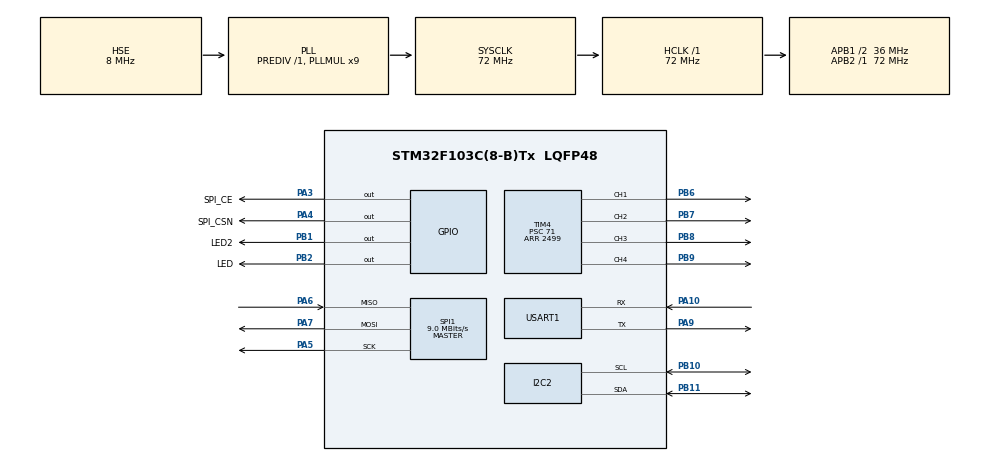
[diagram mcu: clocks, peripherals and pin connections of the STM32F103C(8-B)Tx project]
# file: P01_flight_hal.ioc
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FREERTOS.Tasks01=myTask,40,256,StartTask,Default,NULL,Dynamic,NULL,NULL;myTask02,24,128,StartTask02,Default,NULL,Dynamic,NULL,NULL;myTask03,8,128,StartTask03,Default,NULL,Dynamic,NULL,NULL
I2C2.I2C_Mode=I2C_Fast
Mcu.Family=STM32F1
Mcu.Name=STM32F103C(8-B)Tx
Mcu.Package=LQFP48
NVIC.PriorityGroup=NVIC_PRIORITYGROUP_4
NVIC.TIM2_IRQn=true\:15\:0\:false\:false\:true\:false\:false\:true\:true
NVIC.TimeBase=TIM2_IRQn
NVIC.TimeBaseIP=TIM2
PA10.Mode=Asynchronous
PA10.Signal=USART1_RX
PA13.Mode=Serial_Wire
PA13.Signal=SYS_JTMS-SWDIO
PA14.Mode=Serial_Wire
PA14.Signal=SYS_JTCK-SWCLK
PA3.GPIO_Label=SPI_CE
PA3.PinState=GPIO_PIN_RESET
PA3.Signal=GPIO_Output
PA4.GPIO_Label=SPI_CSN
PA4.PinState=GPIO_PIN_SET
PA4.Signal=GPIO_Output
PA5.Mode=Full_Duplex_Master
PA5.Signal=SPI1_SCK
PA6.Mode=Full_Duplex_Master
PA6.Signal=SPI1_MISO
PA7.Mode=Full_Duplex_Master
PA7.Signal=SPI1_MOSI
PA9.Mode=Asynchronous
PA9.Signal=USART1_TX
PB1.GPIO_Label=LED2
PB1.Signal=GPIO_Output
PB10.Mode=I2C
PB10.Signal=I2C2_SCL
PB11.Mode=I2C
PB11.Signal=I2C2_SDA
PB2.GPIO_Label=LED
PB2.GPIO_PuPd=GPIO_NOPULL
PB2.Signal=GPIO_Output
PB6.Signal=S_TIM4_CH1
PB7.Signal=S_TIM4_CH2
PB8.Signal=S_TIM4_CH3
PB9.Signal=S_TIM4_CH4
PC14-OSC32_IN.Mode=LSE-External-Oscillator
PC14-OSC32_IN.Signal=RCC_OSC32_IN
PC15-OSC32_OUT.Mode=LSE-External-Oscillator
PC15-OSC32_OUT.Signal=RCC_OSC32_OUT
PD0-OSC_IN.Mode=HSE-External-Oscillator
PD0-OSC_IN.Signal=RCC_OSC_IN
PD1-OSC_OUT.Mode=HSE-External-Oscillator
PD1-OSC_OUT.Signal=RCC_OSC_OUT
ProjectManager.HeapSize=0x200
ProjectManager.StackSize=0x400
ProjectManager.TargetToolchain=CMake
RCC.AHBFreq_Value=72000000
RCC.APB1CLKDivider=RCC_HCLK_DIV2
RCC.APB1Freq_Value=36000000
RCC.APB1TimFreq_Value=72000000
RCC.APB2Freq_Value=72000000
RCC.APB2TimFreq_Value=72000000
RCC.HCLKFreq_Value=72000000
RCC.PLLMUL=RCC_PLL_MUL9
RCC.PLLSourceVirtual=RCC_PLLSOURCE_HSE
RCC.SYSCLKFreq_VALUE=72000000
RCC.SYSCLKSource=RCC_SYSCLKSOURCE_PLLCLK
RCC.USBFreq_Value=72000000
SH.S_TIM4_CH1.0=TIM4_CH1,PWM Generation1 CH1
SH.S_TIM4_CH2.0=TIM4_CH2,PWM Generation2 CH2
SH.S_TIM4_CH3.0=TIM4_CH3,PWM Generation3 CH3
SH.S_TIM4_CH4.0=TIM4_CH4,PWM Generation4 CH4
SPI1.BaudRatePrescaler=SPI_BAUDRATEPRESCALER_8
SPI1.CalculateBaudRate=9.0 MBits/s
SPI1.Direction=SPI_DIRECTION_2LINES
SPI1.Mode=SPI_MODE_MASTER
SPI1.VirtualType=VM_MASTER
TIM4.Channel-PWM\ Generation1\ CH1=TIM_CHANNEL_1
TIM4.Channel-PWM\ Generation2\ CH2=TIM_CHANNEL_2
TIM4.Channel-PWM\ Generation3\ CH3=TIM_CHANNEL_3
TIM4.Channel-PWM\ Generation4\ CH4=TIM_CHANNEL_4
TIM4.Period=2499
TIM4.Prescaler=71
TIM4.Pulse-PWM\ Generation1\ CH1=1100
TIM4.Pulse-PWM\ Generation2\ CH2=1100
TIM4.Pulse-PWM\ Generation3\ CH3=1100
TIM4.Pulse-PWM\ Generation4\ CH4=1100
USART1.VirtualMode=VM_ASYNC
VP_FREERTOS_VS_CMSIS_V2.Mode=CMSIS_V2
VP_SYS_VS_tim2.Mode=TIM2
VP_TIM4_VS_ClockSourceINT.Mode=Internal
board=custom

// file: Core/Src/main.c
/* USER CODE BEGIN Header */
/**
  ******************************************************************************
  * @file           : main.c
  * @brief          : Main program body
  ******************************************************************************
  * @attention
  *
  * Copyright (c) 2026 STMicroelectronics.
  * All rights reserved.
  *
  * This software is licensed under terms that can be found in the LICENSE file
  * in the root directory of this software component.
  * If no LICENSE file comes with this software, it is provided AS-IS.
  *
  ******************************************************************************
  */
/* USER CODE END Header */
#include "main.h"
#include "cmsis_os.h"
#include "i2c.h"
#include "spi.h"
#include "tim.h"
#include "usart.h"
#include "gpio.h"

/* USER CODE BEGIN Includes */
#include "com_debug.h"
#include "nRF24L01P.h"
/* USER CODE END Includes */

void SystemClock_Config(void);
void MX_FREERTOS_Init(void);

int main(void)
{

  /* MCU Configuration--------------------------------------------------------*/

  /* Reset of all peripherals, Initializes the Flash interface and the Systick. */
  HAL_Init();

  /* Configure the system clock */
  SystemClock_Config();

  /* Initialize all configured peripherals */
  MX_GPIO_Init();
  MX_SPI1_Init();
  MX_USART1_UART_Init();
  MX_TIM4_Init();
  MX_I2C2_Init();
  /* USER CODE BEGIN 2 */

  //使用C語言標準的日誌輸出函數printf()
  //debug_printf("Hello World!\r\n");

  /* USER CODE END 2 */

  /* Init scheduler */
  osKernelInitialize();  /* Call init function for freertos objects (in cmsis_os2.c) */
  MX_FREERTOS_Init();

  /* Start scheduler */
  osKernelStart();

  /* We should never get here as control is now taken by the scheduler */

  /* Infinite loop */
  while (1)
  {

  }
}

void SystemClock_Config(void)
{
  RCC_OscInitTypeDef RCC_OscInitStruct = {0};
  RCC_ClkInitTypeDef RCC_ClkInitStruct = {0};

  /** Initializes the RCC Oscillators according to the specified parameters
  * in the RCC_OscInitTypeDef structure.
  */
  RCC_OscInitStruct.OscillatorType = RCC_OSCILLATORTYPE_HSE;
  RCC_OscInitStruct.HSEState = RCC_HSE_ON;
  RCC_OscInitStruct.HSEPredivValue = RCC_HSE_PREDIV_DIV1;
  RCC_OscInitStruct.HSIState = RCC_HSI_ON;
  RCC_OscInitStruct.PLL.PLLState = RCC_PLL_ON;
  RCC_OscInitStruct.PLL.PLLSource = RCC_PLLSOURCE_HSE;
  RCC_OscInitStruct.PLL.PLLMUL = RCC_PLL_MUL9;
  if (HAL_RCC_OscConfig(&RCC_OscInitStruct) != HAL_OK)
  {
    Error_Handler();
  }

  /** Initializes the CPU, AHB and APB buses clocks
  */
  RCC_ClkInitStruct.ClockType = RCC_CLOCKTYPE_HCLK|RCC_CLOCKTYPE_SYSCLK
                              |RCC_CLOCKTYPE_PCLK1|RCC_CLOCKTYPE_PCLK2;
  RCC_ClkInitStruct.SYSCLKSource = RCC_SYSCLKSOURCE_PLLCLK;
  RCC_ClkInitStruct.AHBCLKDivider = RCC_SYSCLK_DIV1;
  RCC_ClkInitStruct.APB1CLKDivider = RCC_HCLK_DIV2;
  RCC_ClkInitStruct.APB2CLKDivider = RCC_HCLK_DIV1;

  if (HAL_RCC_ClockConfig(&RCC_ClkInitStruct, FLASH_LATENCY_2) != HAL_OK)
  {
    Error_Handler();
  }
}

void HAL_TIM_PeriodElapsedCallback(TIM_HandleTypeDef *htim)
{
  if (htim->Instance == TIM2)
  {
    HAL_IncTick();
  }
}

void Error_Handler(void)
{
  __disable_irq();
  while (1)
  {
  }
}

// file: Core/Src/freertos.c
/* USER CODE BEGIN Header */
/**
  ******************************************************************************
  * File Name          : freertos.c
  * Description        : Code for freertos applications
  ******************************************************************************
  * @attention
  *
  * Copyright (c) 2026 STMicroelectronics.
  * All rights reserved.
  *
  * This software is licensed under terms that can be found in the LICENSE file
  * in the root directory of this software component.
  * If no LICENSE file comes with this software, it is provided AS-IS.
  *
  ******************************************************************************
  */
/* USER CODE END Header */

#include "FreeRTOS.h"
#include "task.h"
#include "main.h"
#include "cmsis_os.h"

/* USER CODE BEGIN Includes */
#include "com_debug.h"
#include "nRF24L01P.h"
#include "ESC.h"
#include "flight_state.h"
#include "receive.h"
#include "MPU6050.h"
#include "flight.h"
/* USER CODE END Includes */

/* USER CODE BEGIN PD */
#define NRF24_TASK_PERIOD_MS  6U
#define NRF24_RETRY_PERIOD_MS 100U
#define FLIGHT_TASK_PERIOD_MS  6U
#define LED_TASK_PERIOD_MS  20U
#define LED_CONNECTED_TOGGLE_MS  500U
#define LED_DISCONNECTED_TOGGLE_MS  100U
/* USER CODE END PD */

/* Definitions for myTask */
osThreadId_t myTaskHandle;
const osThreadAttr_t myTask_attributes = {
  .name = "myTask",
  .stack_size = 256 * 4,
  .priority = (osPriority_t) osPriorityHigh,
};
/* Definitions for myTask02 */
osThreadId_t myTask02Handle;
const osThreadAttr_t myTask02_attributes = {
  .name = "myTask02",
  .stack_size = 128 * 4,
  .priority = (osPriority_t) osPriorityNormal,
};
/* Definitions for myTask03 */
osThreadId_t myTask03Handle;
const osThreadAttr_t myTask03_attributes = {
  .name = "myTask03",
  .stack_size = 128 * 4,
  .priority = (osPriority_t) osPriorityLow,
};

void StartTask(void *argument);
void StartTask02(void *argument);
void StartTask03(void *argument);

void MX_FREERTOS_Init(void); /* (MISRA C 2004 rule 8.1) */

void MX_FREERTOS_Init(void) {
  /* USER CODE BEGIN Init */
  FlightState_Init();
  /* USER CODE END Init */

  /* Create the thread(s) */
  /* creation of myTask */
  myTaskHandle = osThreadNew(StartTask, NULL, &myTask_attributes);

  /* creation of myTask02 */
  myTask02Handle = osThreadNew(StartTask02, NULL, &myTask02_attributes);

  /* creation of myTask03 */
  myTask03Handle = osThreadNew(StartTask03, NULL, &myTask03_attributes);

}

void StartTask(void *argument)
{
  /* USER CODE BEGIN StartTask */
  //飛控任務
  //初始化四個 ESC
  ESC_InitAll();
  /* 初始化 MPU6050 的量程、取樣率、低通濾波器及時鐘源。 */
  MPU6050_Init();
  /*
   * 開機校準約需數秒；期間飛控必須保持水平靜止且 Z 軸朝上。
   * 校準函式會使用 vTaskDelay()，因此不會阻塞其他已就緒的任務。
   */
  HAL_StatusTypeDef calibrationStatus = MPU6050_Calibrate_offset();
  if (calibrationStatus != HAL_OK)
  {
    debug_printf(
        "MPU6050 calibration failed: status=%d, i2c_error=0x%08lX\r\n",
        (int)calibrationStatus,
        (unsigned long)HAL_I2C_GetError(&hi2c2)
    );
  }
  Flight_AttitudeInit(1000.0f / (float) FLIGHT_TASK_PERIOD_MS);
  /* Infinite loop */
  //獲取基準時間
  TickType_t xLastWakeTime = xTaskGetTickCount();
  for(;;)
  {
    FlightState_Process();
    //1.獲取三軸角速度與加速度計算歐拉角
    Calculate_EulerAngle();
    //2.根據歐拉角計算PID輸出
    Calculate_PIDOutput();
    //3.依飛行狀態、油門及 PID 修正量更新四顆馬達
    Flight_control_motor();

    //6ms執行一次
    vTaskDelayUntil(&xLastWakeTime, pdMS_TO_TICKS(FLIGHT_TASK_PERIOD_MS));
  }
  /* USER CODE END StartTask */
}

void StartTask02(void *argument)
{
  /* USER CODE BEGIN StartTask02 */
    //通訊任務
  uint8_t radioReady = 0U;
  TickType_t lastInitAttempt = xTaskGetTickCount() -
      pdMS_TO_TICKS(NRF24_RETRY_PERIOD_MS);
  /* Infinite loop */
    //獲取基準時間
  TickType_t xLastWakeTime = xTaskGetTickCount();
  for(;;)
  {
    if (!radioReady &&
        (TickType_t)(xTaskGetTickCount() - lastInitAttempt) >=
            pdMS_TO_TICKS(NRF24_RETRY_PERIOD_MS))
    {
        radioReady = (Receive_Init() == HAL_OK);
        lastInitAttempt = xTaskGetTickCount();
        /* 初始化含上電等待，重新建立週期基準，避免補跑過期週期。 */
        xLastWakeTime = lastInitAttempt;
    }

    /* 每輪最多處理 FIFO 的三包，避免積壓舊搖桿值或無限佔用 CPU。 */
    for (uint8_t packet = 0U; radioReady && packet < 3U; ++packet)
    {
        ReceiveResult_t result = Receive_Data();
        if (result == RECEIVE_OK)
        {
            FlightState_RemoteReceived();
        }
        else if (result == RECEIVE_EMPTY)
        {
            break;
        }
        else if (result == RECEIVE_RADIO_ERROR)
        {
            L01_SetCE(CE_LOW);
            radioReady = 0U;
            lastInitAttempt = xTaskGetTickCount();
            break;
        }
        /* 格式或校驗錯誤時繼續讀下一包，不更新連線時間。 */
    }
    FlightState_Update();

    //6ms執行一次
    vTaskDelayUntil(&xLastWakeTime, pdMS_TO_TICKS(NRF24_TASK_PERIOD_MS));
  }
  /* USER CODE END StartTask02 */
}

void StartTask03(void *argument)
{
  /* USER CODE BEGIN StartTask03 */
  /* LED 任務固定每 20 ms 執行一次，各 LED 使用自己的時間判斷。 */
  TickType_t xLastWakeTime = xTaskGetTickCount();
  TickType_t lastLed1ToggleTime = xLastWakeTime;
  LinkState_t previousLinkState = FlightState_GetLinkState();

  for (;;)
  {
    TickType_t now = xTaskGetTickCount();
    /* LED2：飛控未解鎖（IDLE）時長亮，其餘狀態熄滅。 */
    FlightState_t currentState = FlightState_GetFlightState();
    HAL_GPIO_WritePin(
        LED2_GPIO_Port,
        LED2_Pin,
        (currentState == IDLE) ? GPIO_PIN_SET : GPIO_PIN_RESET
    );

    /* LED1：連線時每 500 ms 切換，失聯時每 100 ms 切換。 */
    LinkState_t currentLinkState = FlightState_GetLinkState();
    TickType_t led1TogglePeriod =
        (currentLinkState == LINK_CONNECTED)
            ? pdMS_TO_TICKS(LED_CONNECTED_TOGGLE_MS)
            : pdMS_TO_TICKS(LED_DISCONNECTED_TOGGLE_MS);

    /* 連線狀態改變時重新開始計時，避免沿用上一狀態的閃爍週期。 */
    if (currentLinkState != previousLinkState)
    {
        previousLinkState = currentLinkState;
        lastLed1ToggleTime = now;
        HAL_GPIO_WritePin(LED_GPIO_Port, LED_Pin, GPIO_PIN_RESET);
    }
    else if ((now - lastLed1ToggleTime) >= led1TogglePeriod)
    {
        HAL_GPIO_TogglePin(LED_GPIO_Port, LED_Pin);
        lastLed1ToggleTime = now;
    }

    /* 固定週期喚醒，讓 LED2 狀態最多延遲約 20 ms。 */
    vTaskDelayUntil(
        &xLastWakeTime,
        pdMS_TO_TICKS(LED_TASK_PERIOD_MS)
    );
  }
  /* USER CODE END StartTask03 */
}
